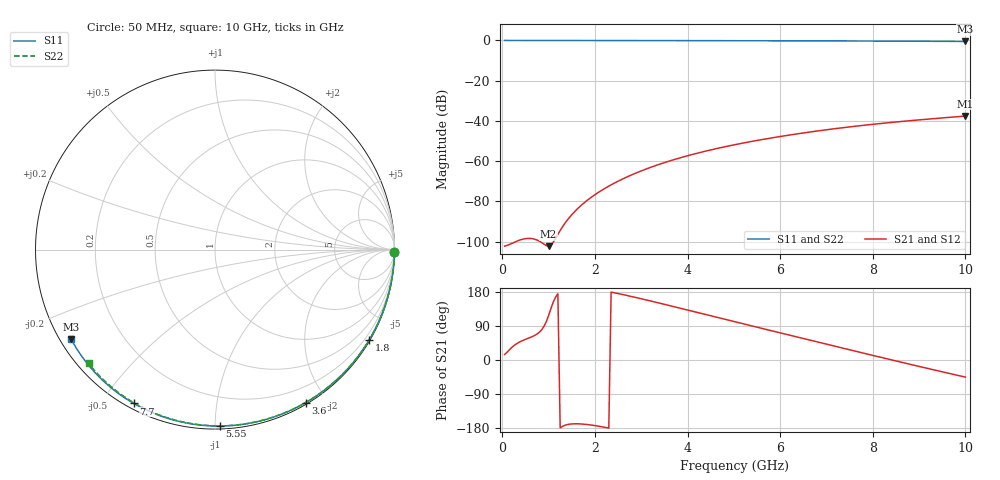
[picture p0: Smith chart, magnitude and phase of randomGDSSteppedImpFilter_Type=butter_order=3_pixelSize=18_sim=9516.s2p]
! freq	dB(S11)	phase(S11)	dB(S12)	phase(S12)
!  dB(S21)	phase(S21)	dB(S22)	phase(S22)
!S-par simulation data
#  GHz  S  DB  R 50
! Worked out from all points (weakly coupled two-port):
!   200 points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, 50 MHz to 10 GHz, reference 50 ohm
!   highest |S21| = -37.60 dB at 10 GHz (marker M1); lowest = -102.3 dB at 1 GHz (marker M2)
!   lowest |S11| = -0.5 dB at 10 GHz (marker M3), VSWR 34.88, Z = 1.55 - j14.3 ohm
!   |S11| at or under -10 dB: nowhere
!   |S22| runs from -0.5 to 0.0 dB; largest |S21 - S12| = 0
!   S11 on the Smith chart (normalised r, x): 50 MHz: open; 1.8 GHz: 0.03, -3.67; 3.6 GHz: 0.02, -1.75; 5.55 GHz: 0.02, -1.03; 7.7 GHz: 0.02, -0.60; 10 GHz: 0.03, -0.29
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0.05  -0.00 -0.9  -102.27 14.5  -102.27 14.5  -0.00 -0.8
0.5  -0.01 -8.6  -98.58 54.5  -98.58 54.5  -0.01 -8.0
1  -0.02 -17.1  -102.30 117.5  -102.30 117.5  -0.02 -15.9
1.75  -0.04 -29.6  -81.08 -169.2  -81.08 -169.2  -0.04 -27.5
1.8  -0.04 -30.5  -80.12 -169.8  -80.12 -169.8  -0.04 -28.3
2  -0.04 -33.8  -76.71 -173.1  -76.71 -173.1  -0.04 -31.4
2.15  -0.05 -36.2  -74.47 -176.1  -74.47 -176.1  -0.04 -33.7
2.5  -0.05 -42.0  -70.00 175.4  -70.00 175.4  -0.05 -39.0
2.9  -0.06 -48.4  -65.80 164.5  -65.80 164.5  -0.06 -45.0
3.4  -0.07 -56.3  -61.51 149.9  -61.51 149.9  -0.07 -52.4
3.6  -0.08 -59.4  -60.02 144.0  -60.02 144.0  -0.07 -55.3
3.9  -0.09 -64.0  -57.97 134.9  -57.97 134.9  -0.08 -59.6
4.3  -0.10 -70.1  -55.54 122.8  -55.54 122.8  -0.09 -65.3
5.05  -0.12 -81.2  -51.70 100.1  -51.70 100.1  -0.12 -75.7
5.55  -0.14 -88.4  -49.52 85.1  -49.52 85.1  -0.14 -82.5
6.1  -0.17 -96.2  -47.39 68.6  -47.39 68.6  -0.16 -89.8
6.7  -0.20 -104.4  -45.34 50.7  -45.34 50.7  -0.19 -97.6
7.2  -0.23 -111.2  -43.82 35.8  -43.82 35.8  -0.22 -103.9
7.7  -0.27 -117.9  -42.45 21.0  -42.45 21.0  -0.25 -110.1
8.35  -0.32 -126.4  -40.88 1.8  -40.88 1.8  -0.30 -118.1
9.2  -0.40 -137.5  -39.10 -22.7  -39.10 -22.7  -0.38 -128.4
10  -0.50 -148.0  -37.60 -45.1  -37.60 -45.1  -0.47 -138.0
